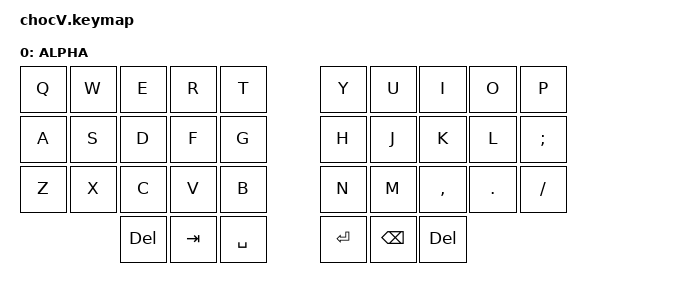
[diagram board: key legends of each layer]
/*
 * Copyright (c) 2020 The ZMK Contributors
 * and (c) 2022 tubbytwins (Matthew A. Schnoor) and beekeeb
 *
 * SPDX-License-Identifier: MIT
 */

#include <behaviors.dtsi>
#include <dt-bindings/zmk/keys.h>

#define DEFAULT 0

/ {
        keymap {
                compatible = "zmk,keymap";
                label = "ChocV";

                default_layer {
                // ┏━━━━━━━━━━━━━━━━━━━━━━━━━━━━━━━━━━━━━━━┓

                label = "ALPHA";

                // ┗━━━━━━━━━━━━━━━━━━━━━━━━━━━━━━━━━━━━━━━┛
                //             ┏━━━━━━━━━━━┳━━━━━━━━━━━┳━━━━━━━━━━━┳━━━━━━━━━━━┳━━━━━━━━━━━┓   ┏━━━━━━━━━━━┳━━━━━━━━━━━┳━━━━━━━━━━━┳━━━━━━━━━━━┳━━━━━━━━━━━┓
                //             ┃     Q     ┃     W     ┃     E     ┃     R     ┃     T     ┃   ┃     Y     ┃     U     ┃     I     ┃     O     ┃     P     ┃
                //             ┣━━━━━━━━━━━╋━━━━━━━━━━━╋━━━━━━━━━━━╋━━━━━━━━━━━╋━━━━━━━━━━━┫   ┣━━━━━━━━━━━╋━━━━━━━━━━━╋━━━━━━━━━━━╋━━━━━━━━━━━╋━━━━━━━━━━━┫
                //             ┃     A     ┃     S     ┃     D     ┃     F     ┃     G     ┃   ┃     H     ┃     J     ┃     K     ┃     L     ┃     ;     ┃
                //             ┣━━━━━━━━━━━╋━━━━━━━━━━━╋━━━━━━━━━━━╋━━━━━━━━━━━╋━━━━━━━━━━━┫   ┣━━━━━━━━━━━╋━━━━━━━━━━━╋━━━━━━━━━━━╋━━━━━━━━━━━╋━━━━━━━━━━━┫
                //             ┃     Z     ┃     X     ┃     C     ┃     V     ┃     B     ┃   ┃     N     ┃     M     ┃     ,     ┃     .     ┃     /     ┃
                //             ┗━━━━━━━━━━━┻━━━━━━━━━━━╋━━━━━━━━━━━╋━━━━━━━━━━━╋━━━━━━━━━━━┫   ┣━━━━━━━━━━━╋━━━━━━━━━━━╋━━━━━━━━━━━╋━━━━━━━━━━━┻━━━━━━━━━━━┛
                //                                     ┃    DEL    ┃    TAB    ┃    SPC    ┃   ┃   ENTER   ┃    BSPC   ┃     DEL   ┃
                //                                     ┗━━━━━━━━━━━┻━━━━━━━━━━━┻━━━━━━━━━━━┛   ┗━━━━━━━━━━━┻━━━━━━━━━━━┻━━━━━━━━━━━┛

                        bindings = <

    &kp Q  &kp W  &kp E  &kp R  &kp T           &kp Y   &kp U  &kp I     &kp O    &kp P    
    &kp A  &kp S  &kp D  &kp F  &kp G           &kp H   &kp J  &kp K     &kp L    &kp SEMI 
    &kp Z  &kp X  &kp C  &kp V  &kp B           &kp N   &kp M  &kp COMMA &kp DOT  &kp SLASH
                  &kp DEL  &kp TAB &kp SPACE    &kp RET &kp BSPC  &kp DEL
                    >;

                };
        };
};
